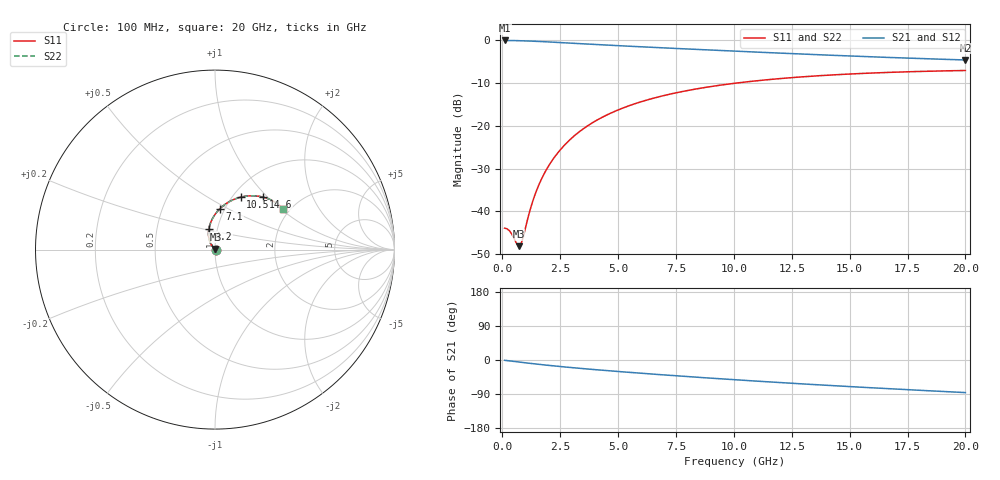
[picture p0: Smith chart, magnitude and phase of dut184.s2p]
! Touchstone file exported from HFSS 2024.1.0
!  File:  C:/UserFiles/LocalFiles/RDL_TSV_Batchsim/temp_RDL_TSV_184_1779439621.aedt
!  Generated:  05:04:25 PM May 22, 2026
!  Design:  RDL_TSV
!  Project:  temp_RDL_TSV_184_1779439621
!  Setup:  Setup1
!  Solution:  Sweep
! Variables:
!  dtsv = 5.41um
!  hbump = 3um
!  htsv = 70.51um
!  ldown = 124.18um
!  lrdl = 130um
!  p = 40
!  p1 = 52.86um
!  rhole = 10um
!  subl = 892.54um
!  t = 450um
!  tdown = 2.87um
!  trdl = 4.9um
!  viad = 10um
!  wdown = 17.42um
!  wrdl = 23.02um
!  xbump = 18um
# GHz S MA R 50.000000
! Terminal data exported
! Port[1] = TM1_1_T1
! Port[2] = TM1_4_T1
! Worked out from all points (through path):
!   200 points, 100 MHz to 20 GHz, reference 50 ohm
!   highest |S21| = -0.06 dB at 100 MHz (marker M1); lowest = -4.6 dB at 20 GHz (marker M2)
!   group delay of S21, straight-line fit = 11.4 ps
!   lowest |S11| = -48.2 dB at 700 MHz (marker M3), VSWR 1.01, Z = 50.2 + j0.32 ohm
!   |S11| at or under -10 dB: start of sweep to 10.14 GHz
!   |S22| runs from -48.2 to -7.1 dB; largest |S21 - S12| = 1.3e-14
!   S11 on the Smith chart (normalised r, x): 100 MHz: 1.01, +0.00; 4.2 GHz: 0.91, +0.21; 7.1 GHz: 0.95, +0.46; 10.5 GHz: 1.09, +0.71; 14.6 GHz: 1.36, +0.94; 20 GHz: 1.83, +1.04
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0.1  0.006351 4.3  0.9934 -0.8  0.9934 -0.8  0.006351 4.3
! Gamma 0 0 0 0
! Port Impedance 50 0 50 0
0.3  0.005958 11.7  0.9922 -2.3  0.9922 -2.3  0.005958 11.7
0.7  0.003909 54.5  0.9874 -5.3  0.9874 -5.3  0.003909 54.5
0.8  0.004079 76.7  0.9857 -6.0  0.9857 -6.0  0.004079 76.7
0.9  0.004936 96.2  0.9838 -6.7  0.9838 -6.7  0.004936 96.2
1.2  0.01036 122.6  0.9773 -8.9  0.9773 -8.9  0.01036 122.7
1.4  0.01532 127.4  0.9723 -10.2  0.9723 -10.2  0.01532 127.4
1.6  0.02098 128.8  0.9668 -11.6  0.9668 -11.6  0.02098 128.8
1.9  0.0305 128.2  0.9579 -13.5  0.9579 -13.5  0.0305 128.2
2.2  0.04098 126.0  0.9486 -15.4  0.9486 -15.4  0.04098 126.0
2.6  0.05601 122.3  0.9358 -17.8  0.9358 -17.8  0.05602 122.3
3.5  0.09221 113.1  0.9072 -22.8  0.9072 -22.8  0.09222 113.1
4.2  0.1209 106.2  0.8861 -26.4  0.8861 -26.4  0.1209 106.2
5.4  0.1686 95.7  0.8528 -32.2  0.8528 -32.2  0.1686 95.7
6.8  0.2194 85.2  0.8176 -38.6  0.8176 -38.6  0.2194 85.2
7.1  0.2295 83.1  0.8104 -39.9  0.8104 -39.9  0.2295 83.1
10.1  0.3153 66.0  0.744 -52.3  0.744 -52.3  0.3153 66.0
10.5  0.3247 64.0  0.7358 -53.9  0.7358 -53.9  0.3247 64.0
13.4  0.3802 51.6  0.6808 -64.6  0.6808 -64.6  0.3802 51.6
14.6  0.3974 47.2  0.6606 -68.8  0.6606 -68.8  0.3974 47.2
16.7  0.4206 40.3  0.6287 -75.8  0.6287 -75.8  0.4207 40.3
20  0.4425 31.1  0.5875 -86.0  0.5875 -86.0  0.4426 31.1
